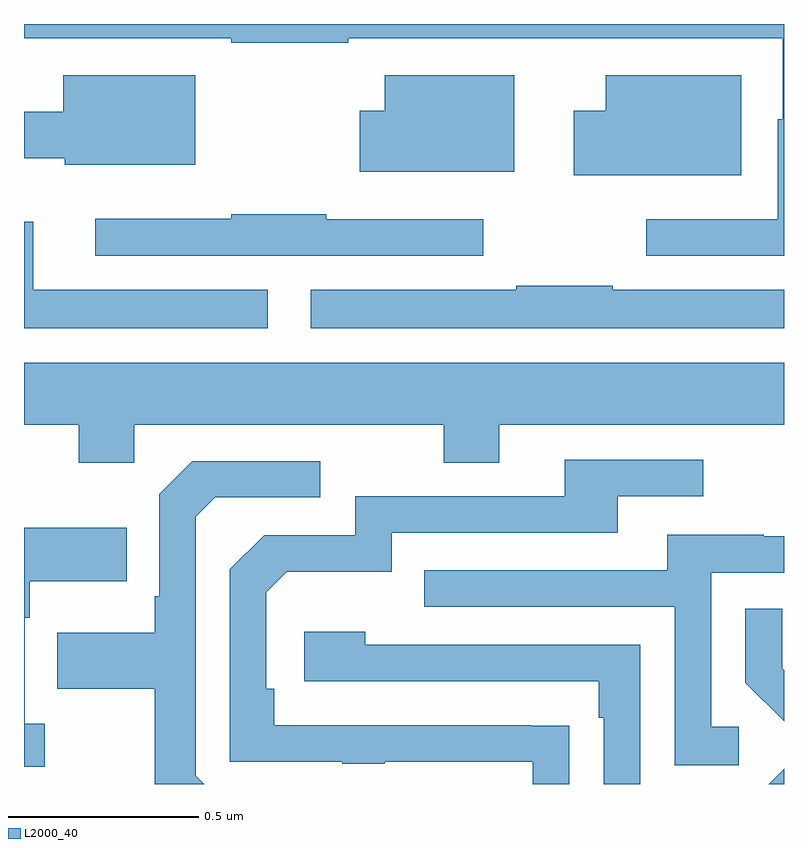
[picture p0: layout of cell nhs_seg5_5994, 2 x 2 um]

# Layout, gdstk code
import gdstk
lib = gdstk.Library(unit=1e-6, precision=1e-09)
def P(c, l, *ps):  # polygons
    for p in ps: c.add(gdstk.Polygon(p, *l))
L2000_40 = (2000, 40)

nhs_seg5_5994 = lib.new_cell('nhs_seg5_5994')
P(nhs_seg5_5994, L2000_40, [(192,873.799),(190,873.799),(190,873.762),(190.546,873.762),(190.546,873.75),(190.853,873.75),(190.853,873.762),(191.997,873.762),(191.997,873.549),(191.984,873.549),(191.984,873.285),(191.637,873.285),(191.637,873.189),(192,873.189)],
  [(191.887,873.664),(191.531,873.664),(191.531,873.571),(191.447,873.571),(191.447,873.401),(191.887,873.401)],
  [(191.29,873.664),(190.949,873.664),(190.949,873.571),(190.884,873.571),(190.884,873.41),(191.29,873.41)],
  [(190.45,873.664),(190.103,873.664),(190.103,873.568),(190,873.568),(190,873.446),(190.107,873.446),(190.107,873.428),(190.45,873.428)],
  [(191.209,873.285),(190.796,873.285),(190.796,873.298),(190.546,873.298),(190.546,873.286),(190.188,873.286),(190.188,873.189),(191.209,873.189)],
  [(190.642,873.1),(190.024,873.1),(190.024,873.279),(190,873.279),(190,872.999),(190.642,872.999)],
  [(192,873.1),(191.549,873.1),(191.549,873.11),(191.296,873.11),(191.296,873.1),(190.755,873.1),(190.755,872.999),(192,872.999)],
  [(190.29,872.744),(191.104,872.744),(191.104,872.645),(191.251,872.645),(191.251,872.744),(192,872.744),(192,872.908),(190,872.908),(190,872.744),(190.144,872.744),(190.144,872.645),(190.29,872.645)],
  [(191.435,871.952),(191.333,871.952),(191.333,871.953),(190.658,871.953),(190.658,872.05),(190.638,872.05),(190.638,872.304),(190.691,872.357),(190.968,872.357),(190.968,872.46),(191.563,872.46),(191.563,872.556),(191.788,872.556),(191.788,872.652),(191.423,872.652),(191.423,872.556),(190.872,872.556),(190.872,872.454),(190.632,872.454),(190.542,872.364),(190.542,871.857),(190.837,871.857),(190.837,871.852),(190.949,871.852),(190.949,871.857),(191.339,871.857),(191.339,871.799),(191.435,871.799)],
  [(190.452,871.821),(190.452,872.502),(190.503,872.553),(190.78,872.553),(190.78,872.649),(190.443,872.649),(190.356,872.562),(190.356,872.293),(190.344,872.293),(190.344,872.197),(190.087,872.197),(190.087,872.05),(190.344,872.05),(190.344,871.799),(190.474,871.799)],
  [(190.054,871.958),(190.002,871.958),(190.002,872.237),(190.015,872.237),(190.015,872.333),(190.271,872.333),(190.271,872.473),(190,872.473),(190,871.845),(190.054,871.845)],
  [(191.881,871.95),(191.808,871.95),(191.808,872.355),(192,872.355),(192,872.451),(191.947,872.451),(191.947,872.455),(191.693,872.455),(191.693,872.361),(191.053,872.361),(191.053,872.265),(191.712,872.265),(191.712,871.849),(191.881,871.849)],
  [(192,872.098),(191.995,872.103),(191.995,872.26),(191.898,872.26),(191.898,872.066),(192,871.964)],
  [(191.622,872.166),(190.898,872.166),(190.898,872.2),(190.737,872.2),(190.737,872.07),(191.513,872.07),(191.513,871.973),(191.526,871.973),(191.526,871.799),(191.622,871.799)],
  [(192,871.839),(191.96,871.799),(192,871.799)])

lib.write_gds('nhs_seg5_5994.gds')
